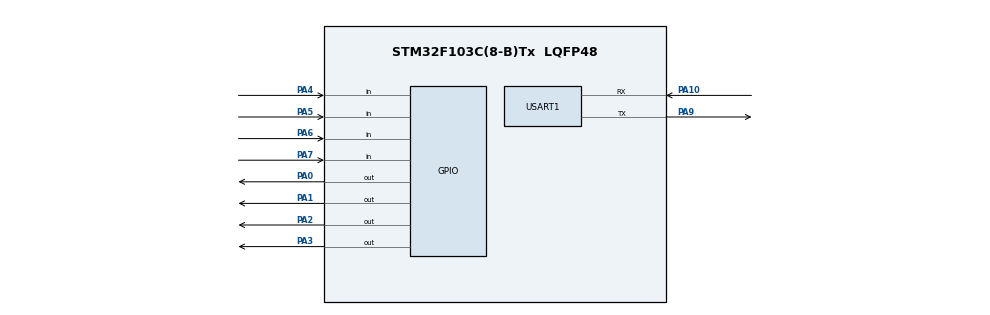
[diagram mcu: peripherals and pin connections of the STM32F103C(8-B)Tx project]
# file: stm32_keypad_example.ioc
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Mcu.Family=STM32F1
Mcu.Name=STM32F103C(8-B)Tx
Mcu.Package=LQFP48
NVIC.PriorityGroup=NVIC_PRIORITYGROUP_4
PA0-WKUP.Signal=GPIO_Output
PA1.Signal=GPIO_Output
PA10.Mode=Asynchronous
PA10.Signal=USART1_RX
PA2.Signal=GPIO_Output
PA3.Signal=GPIO_Output
PA4.GPIO_PuPd=GPIO_PULLUP
PA4.Signal=GPIO_Input
PA5.GPIO_PuPd=GPIO_PULLUP
PA5.Signal=GPIO_Input
PA6.GPIO_PuPd=GPIO_PULLUP
PA6.Signal=GPIO_Input
PA7.GPIO_PuPd=GPIO_PULLUP
PA7.Signal=GPIO_Input
PA9.Mode=Asynchronous
PA9.Signal=USART1_TX
ProjectManager.HeapSize=0x200
ProjectManager.StackSize=0x400
ProjectManager.TargetToolchain=SW4STM32
RCC.APB1Freq_Value=8000000
RCC.APB2Freq_Value=8000000
USART1.VirtualMode=VM_ASYNC
VP_SYS_VS_ND.Mode=No_Debug
board=stm32_keypad_example

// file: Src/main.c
/**
 ******************************************************************************
 * File Name          : main.c
 * Description        : Main program body
 ******************************************************************************
 ** This notice applies to any and all portions of this file
 * that are not between comment pairs USER CODE BEGIN and
 * USER CODE END. Other portions of this file, whether
 * inserted by the user or by software development tools
 * are owned by their respective copyright owners.
 *
 * COPYRIGHT(c) 2018 STMicroelectronics
 *
 * Redistribution and use in source and binary forms, with or without modification,
 * are permitted provided that the following conditions are met:
 *   1. Redistributions of source code must retain the above copyright notice,
 *      this list of conditions and the following disclaimer.
 *   2. Redistributions in binary form must reproduce the above copyright notice,
 *      this list of conditions and the following disclaimer in the documentation
 *      and/or other materials provided with the distribution.
 *   3. Neither the name of STMicroelectronics nor the names of its contributors
 *      may be used to endorse or promote products derived from this software
 *      without specific prior written permission.
 *
 * THIS SOFTWARE IS PROVIDED BY THE COPYRIGHT HOLDERS AND CONTRIBUTORS "AS IS"
 * AND ANY EXPRESS OR IMPLIED WARRANTIES, INCLUDING, BUT NOT LIMITED TO, THE
 * IMPLIED WARRANTIES OF MERCHANTABILITY AND FITNESS FOR A PARTICULAR PURPOSE ARE
 * DISCLAIMED. IN NO EVENT SHALL THE COPYRIGHT HOLDER OR CONTRIBUTORS BE LIABLE
 * FOR ANY DIRECT, INDIRECT, INCIDENTAL, SPECIAL, EXEMPLARY, OR CONSEQUENTIAL
 * DAMAGES (INCLUDING, BUT NOT LIMITED TO, PROCUREMENT OF SUBSTITUTE GOODS OR
 * SERVICES; LOSS OF USE, DATA, OR PROFITS; OR BUSINESS INTERRUPTION) HOWEVER
 * CAUSED AND ON ANY THEORY OF LIABILITY, WHETHER IN CONTRACT, STRICT LIABILITY,
 * OR TORT (INCLUDING NEGLIGENCE OR OTHERWISE) ARISING IN ANY WAY OUT OF THE USE
 * OF THIS SOFTWARE, EVEN IF ADVISED OF THE POSSIBILITY OF SUCH DAMAGE.
 *
 ******************************************************************************
 */

#include "main.h"
#include "stm32f1xx_hal.h"

/* USER CODE BEGIN Includes */
#include <stdbool.h>
#include <string.h>
#include "keypad/Keypad.h"
#include "keypad/config.h"

/* USER CODE END Includes */

UART_HandleTypeDef huart1;

/* USER CODE BEGIN PV */
/* Private variables ---------------------------------------------------------*/

/* USER CODE END PV */

void SystemClock_Config(void);
static void MX_GPIO_Init(void);
static void MX_USART1_UART_Init(void);

/* USER CODE BEGIN PFP */
/* Private function prototypes -----------------------------------------------*/

/* USER CODE END PFP */

/* USER CODE BEGIN 0 */
char str_buf[64];
/* USER CODE END 0 */

int main(void) {

	/* MCU Configuration----------------------------------------------------------*/

	/* Reset of all peripherals, Initializes the Flash interface and the Systick. */
	HAL_Init();

	/* Configure the system clock */
	SystemClock_Config();

	/* Initialize all configured peripherals */
	MX_GPIO_Init();
	MX_USART1_UART_Init();

	/* USER CODE BEGIN 2 */
	Keypad keypad;
	keypad._write_row = _write_row;
	keypad._read_col = _read_col;
	keypad._get_ms_tick = _get_ms_tick;
	keypad_init(&keypad, keymap);

	/* USER CODE END 2 */

	/* Infinite loop */
	while (1) {

		/* USER CODE BEGIN 3 */
		if (keypad_getchar(&keypad)) {
			memset(str_buf, 0, 64);
			sprintf(str_buf, "%c\r\n", keypad.keypress);
			HAL_UART_Transmit(&huart1, (uint8_t *) str_buf, strlen(str_buf),
					50);
		}

	}
	/* USER CODE END 3 */

}

/** System Clock Configuration
 */
void SystemClock_Config(void) {

	RCC_OscInitTypeDef RCC_OscInitStruct;
	RCC_ClkInitTypeDef RCC_ClkInitStruct;

	/**Initializes the CPU, AHB and APB busses clocks
	 */
	RCC_OscInitStruct.OscillatorType = RCC_OSCILLATORTYPE_HSI;
	RCC_OscInitStruct.HSIState = RCC_HSI_ON;
	RCC_OscInitStruct.HSICalibrationValue = 16;
	RCC_OscInitStruct.PLL.PLLState = RCC_PLL_NONE;
	if (HAL_RCC_OscConfig(&RCC_OscInitStruct) != HAL_OK) {
		_Error_Handler(__FILE__, __LINE__);
	}

	/**Initializes the CPU, AHB and APB busses clocks
	 */
	RCC_ClkInitStruct.ClockType = RCC_CLOCKTYPE_HCLK | RCC_CLOCKTYPE_SYSCLK
			| RCC_CLOCKTYPE_PCLK1 | RCC_CLOCKTYPE_PCLK2;
	RCC_ClkInitStruct.SYSCLKSource = RCC_SYSCLKSOURCE_HSI;
	RCC_ClkInitStruct.AHBCLKDivider = RCC_SYSCLK_DIV1;
	RCC_ClkInitStruct.APB1CLKDivider = RCC_HCLK_DIV1;
	RCC_ClkInitStruct.APB2CLKDivider = RCC_HCLK_DIV1;

	if (HAL_RCC_ClockConfig(&RCC_ClkInitStruct, FLASH_LATENCY_0) != HAL_OK) {
		_Error_Handler(__FILE__, __LINE__);
	}

	/**Configure the Systick interrupt time
	 */
	HAL_SYSTICK_Config(HAL_RCC_GetHCLKFreq() / 1000);

	/**Configure the Systick
	 */
	HAL_SYSTICK_CLKSourceConfig(SYSTICK_CLKSOURCE_HCLK);

	/* SysTick_IRQn interrupt configuration */
	HAL_NVIC_SetPriority(SysTick_IRQn, 0, 0);
}

/* USART1 init function */
static void MX_USART1_UART_Init(void) {

	huart1.Instance = USART1;
	huart1.Init.BaudRate = 115200;
	huart1.Init.WordLength = UART_WORDLENGTH_8B;
	huart1.Init.StopBits = UART_STOPBITS_1;
	huart1.Init.Parity = UART_PARITY_NONE;
	huart1.Init.Mode = UART_MODE_TX_RX;
	huart1.Init.HwFlowCtl = UART_HWCONTROL_NONE;
	huart1.Init.OverSampling = UART_OVERSAMPLING_16;
	if (HAL_UART_Init(&huart1) != HAL_OK) {
		_Error_Handler(__FILE__, __LINE__);
	}

}

/** Configure pins as
 * Analog
 * Input
 * Output
 * EVENT_OUT
 * EXTI
 */
static void MX_GPIO_Init(void) {

	GPIO_InitTypeDef GPIO_InitStruct;

	/* GPIO Ports Clock Enable */
	__HAL_RCC_GPIOA_CLK_ENABLE()
	;

	/*Configure GPIO pin Output Level */
	HAL_GPIO_WritePin(GPIOA, GPIO_PIN_0 | GPIO_PIN_1 | GPIO_PIN_2 | GPIO_PIN_3,
			GPIO_PIN_RESET);

	/*Configure GPIO pins : PA0 PA1 PA2 PA3 */
	GPIO_InitStruct.Pin = GPIO_PIN_0 | GPIO_PIN_1 | GPIO_PIN_2 | GPIO_PIN_3;
	GPIO_InitStruct.Mode = GPIO_MODE_OUTPUT_PP;
	GPIO_InitStruct.Speed = GPIO_SPEED_FREQ_LOW;
	HAL_GPIO_Init(GPIOA, &GPIO_InitStruct);

	/*Configure GPIO pins : PA4 PA5 PA6 PA7 */
	GPIO_InitStruct.Pin = GPIO_PIN_4 | GPIO_PIN_5 | GPIO_PIN_6 | GPIO_PIN_7;
	GPIO_InitStruct.Mode = GPIO_MODE_INPUT;
	GPIO_InitStruct.Pull = GPIO_PULLUP;
	HAL_GPIO_Init(GPIOA, &GPIO_InitStruct);

}

void _Error_Handler(char * file, int line) {
	while (1) {
	}
}

/************************ (C) COPYRIGHT STMicroelectronics *****END OF FILE****/
